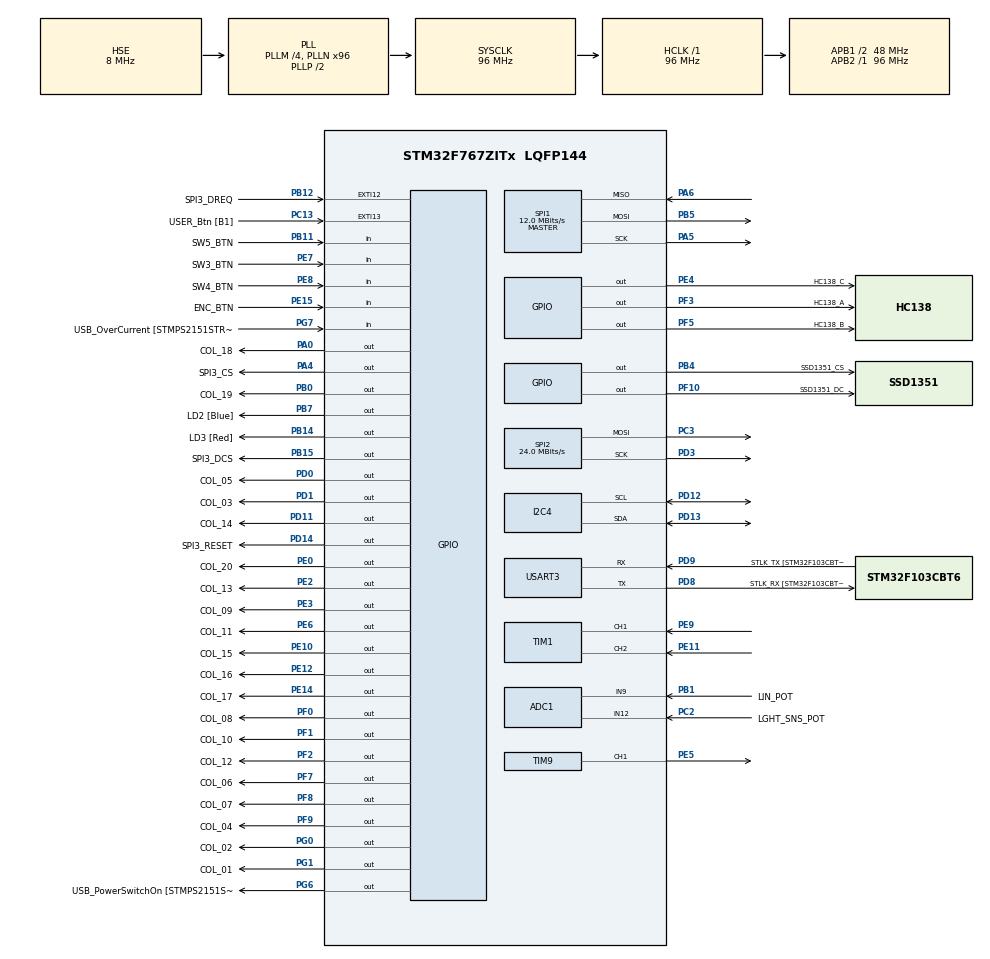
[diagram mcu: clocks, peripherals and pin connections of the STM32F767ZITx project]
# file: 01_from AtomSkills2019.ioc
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ADC1.Channel-0\#ChannelRegularConversion=ADC_CHANNEL_12
ADC1.Channel-1\#ChannelRegularConversion=ADC_CHANNEL_9
ADC1.NbrOfConversion=2
ADC1.NbrOfConversionFlag=1
ADC1.Rank-0\#ChannelRegularConversion=1
ADC1.Rank-1\#ChannelRegularConversion=2
ADC1.SamplingTime-0\#ChannelRegularConversion=ADC_SAMPLETIME_3CYCLES
ADC1.SamplingTime-1\#ChannelRegularConversion=ADC_SAMPLETIME_3CYCLES
ADC1.master=1
Dma.ADC1.0.Direction=DMA_PERIPH_TO_MEMORY
Dma.ADC1.0.FIFOMode=DMA_FIFOMODE_DISABLE
Dma.ADC1.0.Instance=DMA2_Stream0
Dma.ADC1.0.MemDataAlignment=DMA_MDATAALIGN_HALFWORD
Dma.ADC1.0.MemInc=DMA_MINC_ENABLE
Dma.ADC1.0.Mode=DMA_NORMAL
Dma.ADC1.0.PeriphDataAlignment=DMA_PDATAALIGN_HALFWORD
Dma.ADC1.0.PeriphInc=DMA_PINC_DISABLE
Dma.ADC1.0.Priority=DMA_PRIORITY_LOW
Dma.Request0=ADC1
I2C4.Timing=0x20303E5D
Mcu.Family=STM32F7
Mcu.Name=STM32F767ZITx
Mcu.Package=LQFP144
NVIC.DMA2_Stream0_IRQn=true\:0\:0\:false\:false\:true\:false\:true
NVIC.EXTI15_10_IRQn=true\:1\:0\:true\:false\:true\:true\:true
NVIC.PriorityGroup=NVIC_PRIORITYGROUP_4
NVIC.TIM6_DAC_IRQn=true\:0\:0\:false\:false\:true\:true\:true
NVIC.TIM8_TRG_COM_TIM14_IRQn=true\:0\:0\:false\:false\:true\:false\:true
NVIC.TimeBase=TIM8_TRG_COM_TIM14_IRQn
NVIC.TimeBaseIP=TIM14
PA0/WKUP.GPIO_Label=COL_18
PA0/WKUP.Signal=GPIO_Output
PA1.GPIO_Label=RMII_REF_CLK [LAN8742A-CZ-TR_REFCLK0]
PA1.Signal=ETH_REF_CLK
PA10.GPIO_Label=USB_ID
PA10.Signal=USB_OTG_FS_ID
PA11.GPIO_Label=USB_DM
PA11.Signal=USB_OTG_FS_DM
PA12.GPIO_Label=USB_DP
PA12.Signal=USB_OTG_FS_DP
PA13.GPIO_Label=TMS
PA13.Mode=Serial_Wire
PA13.Signal=SYS_JTMS-SWDIO
PA14.GPIO_Label=TCK
PA14.Mode=Serial_Wire
PA14.Signal=SYS_JTCK-SWCLK
PA2.GPIO_Label=RMII_MDIO [LAN8742A-CZ-TR_MDIO]
PA2.Signal=ETH_MDIO
PA4.GPIO_Label=SPI3_CS
PA4.Signal=GPIO_Output
PA5.Mode=Full_Duplex_Master
PA5.Signal=SPI1_SCK
PA6.Mode=Full_Duplex_Master
PA6.Signal=SPI1_MISO
PA7.GPIO_Label=RMII_CRS_DV [LAN8742A-CZ-TR_CRS_DV]
PA7.Signal=ETH_CRS_DV
PA8.GPIO_Label=USB_SOF [TP1]
PA8.Signal=USB_OTG_FS_SOF
PA9.GPIO_Label=USB_VBUS
PA9.Signal=USB_OTG_FS_VBUS
PB0.GPIO_Label=COL_19
PB0.Signal=GPIO_Output
PB1.GPIO_Label=LIN_POT
PB1.Signal=ADCx_IN9
PB11.GPIO_Label=SW5_BTN
PB11.Signal=GPIO_Input
PB12.GPIO_Label=SPI3_DREQ
PB12.Signal=GPXTI12
PB13.GPIO_Label=RMII_TXD1 [LAN8742A-CZ-TR_TXD1]
PB13.Signal=ETH_TXD1
PB14.GPIO_Label=LD3 [Red]
PB14.Signal=GPIO_Output
PB15.GPIO_Label=SPI3_DCS
PB15.Signal=GPIO_Output
PB3.GPIO_Label=SWO
PB3.Signal=SYS_JTDO-SWO
PB4.GPIO_Label=SSD1351_CS
PB4.Signal=GPIO_Output
PB5.Mode=Full_Duplex_Master
PB5.Signal=SPI1_MOSI
PB7.GPIO_Label=LD2 [Blue]
PB7.Signal=GPIO_Output
PC1.GPIO_Label=RMII_MDC [LAN8742A-CZ-TR_MDC]
PC1.Signal=ETH_MDC
PC13.GPIO_Label=USER_Btn [B1]
PC13.Signal=GPXTI13
PC14/OSC32_IN.Mode=LSE-External-Oscillator
PC14/OSC32_IN.Signal=RCC_OSC32_IN
PC15/OSC32_OUT.Mode=LSE-External-Oscillator
PC15/OSC32_OUT.Signal=RCC_OSC32_OUT
PC2.GPIO_Label=LGHT_SNS_POT
PC2.Signal=ADCx_IN12
PC3.Mode=TX_Only_Simplex_Unidirect_Master
PC3.Signal=SPI2_MOSI
PC4.GPIO_Label=RMII_RXD0 [LAN8742A-CZ-TR_RXD0]
PC4.Signal=ETH_RXD0
PC5.GPIO_Label=RMII_RXD1 [LAN8742A-CZ-TR_RXD1]
PC5.Signal=ETH_RXD1
PD0.GPIO_Label=COL_05
PD0.Signal=GPIO_Output
PD1.GPIO_Label=COL_03
PD1.Signal=GPIO_Output
PD11.GPIO_Label=COL_14
PD11.Signal=GPIO_Output
PD12.Mode=I2C
PD12.Signal=I2C4_SCL
PD13.Mode=I2C
PD13.Signal=I2C4_SDA
PD14.GPIO_Label=SPI3_RESET
PD14.Signal=GPIO_Output
PD3.Mode=TX_Only_Simplex_Unidirect_Master
PD3.Signal=SPI2_SCK
PD8.GPIO_Label=STLK_RX [STM32F103CBT6_PA3]
PD8.Mode=Asynchronous
PD8.Signal=USART3_TX
PD9.GPIO_Label=STLK_TX [STM32F103CBT6_PA2]
PD9.Mode=Asynchronous
PD9.Signal=USART3_RX
PE0.GPIO_Label=COL_20
PE0.Signal=GPIO_Output
PE10.GPIO_Label=COL_15
PE10.Signal=GPIO_Output
PE11.Signal=S_TIM1_CH2
PE12.GPIO_Label=COL_16
PE12.Signal=GPIO_Output
PE14.GPIO_Label=COL_17
PE14.Signal=GPIO_Output
PE15.GPIO_Label=ENC_BTN
PE15.Signal=GPIO_Input
PE2.GPIO_Label=COL_13
PE2.Signal=GPIO_Output
PE3.GPIO_Label=COL_09
PE3.Signal=GPIO_Output
PE4.GPIO_Label=HC138_C
PE4.Signal=GPIO_Output
PE5.Signal=S_TIM9_CH1
PE6.GPIO_Label=COL_11
PE6.Signal=GPIO_Output
PE7.GPIO_Label=SW3_BTN
PE7.Signal=GPIO_Input
PE8.GPIO_Label=SW4_BTN
PE8.Signal=GPIO_Input
PE9.Signal=S_TIM1_CH1
PF0.GPIO_Label=COL_08
PF0.Signal=GPIO_Output
PF1.GPIO_Label=COL_10
PF1.Signal=GPIO_Output
PF10.GPIO_Label=SSD1351_DC
PF10.Signal=GPIO_Output
PF2.GPIO_Label=COL_12
PF2.Signal=GPIO_Output
PF3.GPIO_Label=HC138_A
PF3.Signal=GPIO_Output
PF5.GPIO_Label=HC138_B
PF5.Signal=GPIO_Output
PF7.GPIO_Label=COL_06
PF7.Signal=GPIO_Output
PF8.GPIO_Label=COL_07
PF8.Signal=GPIO_Output
PF9.GPIO_Label=COL_04
PF9.Signal=GPIO_Output
PG0.GPIO_Label=COL_02
PG0.Signal=GPIO_Output
PG1.GPIO_Label=COL_01
PG1.Signal=GPIO_Output
PG11.GPIO_Label=RMII_TX_EN [LAN8742A-CZ-TR_TXEN]
PG11.Signal=ETH_TX_EN
PG13.GPIO_Label=RMII_TXD0 [LAN8742A-CZ-TR_TXD0]
PG13.Signal=ETH_TXD0
PG6.GPIO_Label=USB_PowerSwitchOn [STMPS2151STR_EN]
PG6.Signal=GPIO_Output
PG7.GPIO_Label=USB_OverCurrent [STMPS2151STR_FAULT]
PG7.Signal=GPIO_Input
PH0/OSC_IN.GPIO_Label=MCO [STM32F103CBT6_PA8]
PH0/OSC_IN.Mode=HSE-External-Clock-Source
PH0/OSC_IN.Signal=RCC_OSC_IN
PH1/OSC_OUT.Mode=HSE-External-Clock-Source
PH1/OSC_OUT.Signal=RCC_OSC_OUT
ProjectManager.HeapSize=0x200
ProjectManager.StackSize=0x400
ProjectManager.TargetToolchain=MDK-ARM V5.27
RCC.48MHZClocksFreq_Value=24000000
RCC.AHBFreq_Value=96000000
RCC.APB1CLKDivider=RCC_HCLK_DIV2
RCC.APB1Freq_Value=48000000
RCC.APB1TimFreq_Value=96000000
RCC.APB2Freq_Value=96000000
RCC.APB2TimFreq_Value=96000000
RCC.CortexFreq_Value=96000000
RCC.HCLKFreq_Value=96000000
RCC.HSE_VALUE=8000000
RCC.HSI_VALUE=16000000
RCC.PLLM=4
RCC.PLLMUL=RCC_PLL_MUL9
RCC.PLLN=96
RCC.PLLQ=4
RCC.PLLSourceVirtual=RCC_PLLSOURCE_HSE
RCC.PRESCALERUSB=RCC_USBCLKSOURCE_PLL_DIV1_5
RCC.SYSCLKFreq_VALUE=96000000
RCC.SYSCLKSource=RCC_SYSCLKSOURCE_PLLCLK
RCC.SYSCLKSourceVirtual=RCC_SYSCLKSOURCE_PLLCLK
RCC.USBFreq_Value=48000000
RCC.VCOOutputFreq_Value=192000000
SH.ADCx_IN12.0=ADC1_IN12,IN12
SH.ADCx_IN9.0=ADC1_IN9,IN9
SH.S_TIM1_CH1.0=TIM1_CH1,Encoder_Interface
SH.S_TIM1_CH2.0=TIM1_CH2,Encoder_Interface
SH.S_TIM9_CH1.0=TIM9_CH1,PWM Generation1 CH1
SPI1.BaudRatePrescaler=SPI_BAUDRATEPRESCALER_8
SPI1.CalculateBaudRate=12.0 MBits/s
SPI1.DataSize=SPI_DATASIZE_8BIT
SPI1.Direction=SPI_DIRECTION_2LINES
SPI1.Mode=SPI_MODE_MASTER
SPI1.VirtualType=VM_MASTER
SPI2.CalculateBaudRate=24.0 MBits/s
SPI2.DataSize=SPI_DATASIZE_8BIT
SPI2.Direction=SPI_DIRECTION_2LINES
SPI2.Mode=SPI_MODE_MASTER
SPI2.VirtualType=VM_MASTER
TIM6.AutoReloadPreload=TIM_AUTORELOAD_PRELOAD_DISABLE
TIM6.Period=30
TIM6.Prescaler=4799
TIM9.Channel-PWM\ Generation1\ CH1=TIM_CHANNEL_1
TIM9.Period=256
TIM9.Prescaler=9
TIM9.Pulse-PWM\ Generation1\ CH1=15
USART3.VirtualMode-Asynchronous=VM_ASYNC
VP_SYS_VS_tim14.Mode=TIM14
VP_TIM6_VS_ClockSourceINT.Mode=Enable_Timer
VP_TIM9_VS_ClockSourceINT.Mode=Internal
board=NUCLEO-F767ZI

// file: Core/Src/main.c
/* USER CODE BEGIN Header */
/**
  ******************************************************************************
  * @file           : main.c
  * @brief          : Main program body
  ******************************************************************************
  * @attention
  *
  * <h2><center>&copy; Copyright (c) 2022 STMicroelectronics.
  * All rights reserved.</center></h2>
  *
  * This software component is licensed by ST under BSD 3-Clause license,
  * the "License"; You may not use this file except in compliance with the
  * License. You may obtain a copy of the License at:
  *                        opensource.org/licenses/BSD-3-Clause
  *
  ******************************************************************************
  */
/* USER CODE END Header */
#include "main.h"

/* USER CODE BEGIN Includes */
#include "task.h"
#include "button.h"
#include "matrix_led_hc138.h"
//add 09-02-2022 for work with oled ssd1351
#include "ssd1351.h"
#include "fonts.h"
#include "testimg.h"
//add 10-02-2022 for work with tsl2561
#include "tsl2561.h"
//add 11-02-2022 for work with accel MPU-6050
#include "mpu6050.h"
//add 11-02-2022 for work with mp3 decoder VS1053
#include "vs1053.h"
//#include "testMP3.h"
//#include "t.h"
#include "udovolstvie_64.h"

/* USER CODE END Includes */

ADC_HandleTypeDef hadc1;
DMA_HandleTypeDef hdma_adc1;

I2C_HandleTypeDef hi2c4;

SPI_HandleTypeDef hspi1;
SPI_HandleTypeDef hspi2;

TIM_HandleTypeDef htim1;
TIM_HandleTypeDef htim6;
TIM_HandleTypeDef htim9;

UART_HandleTypeDef huart3;

/* USER CODE BEGIN PV */
int row_cnt = 0;
int col_cnt  = 0;
int cnt_sec = 0;
int cnt_msec = 0;
int videoram_matrix[7][20]={
	{1,0,0,1,1,0,0,0,0,1,1,1,0,0,0,1,1,1,1,0},
	{1,0,1,0,0,1,0,0,1,0,0,1,0,0,1,0,0,0,1,0},
	{1,0,1,0,0,1,0,0,1,0,0,1,0,0,1,0,0,0,1,0},
	{1,1,1,0,0,1,0,0,1,0,0,1,0,0,1,0,0,0,1,0},
	{1,1,1,0,0,1,0,0,1,0,0,1,0,0,0,1,1,1,1,0},
	{1,0,1,0,0,1,0,0,1,0,0,1,0,0,0,1,0,0,1,0},
	{1,0,0,1,1,0,0,1,0,0,0,1,0,0,1,0,0,0,1,0}
};
int ang = 0;
int conrast_matrix_led = 0;
int dir_contrast;
char oled_string[10];
int adc1, adc2;
uint16_t adc[2] = {0,0};
unsigned int ms;  // Integration ("shutter") time in milliseconds
unsigned int data0, data1;  //for tsl2561
bool gain;        // Gain setting, 0 = X1, 1 = X16;
double lux;    // Resulting lux value
MPU6050_t MPU6050;
uint32_t pnt_indx_mp3;
/* USER CODE END PV */

void SystemClock_Config(void);
static void MX_GPIO_Init(void);
static void MX_DMA_Init(void);
static void MX_USART3_UART_Init(void);
static void MX_SPI2_Init(void);
static void MX_ADC1_Init(void);
static void MX_I2C4_Init(void);
static void MX_TIM1_Init(void);
static void MX_TIM6_Init(void);
static void MX_TIM9_Init(void);
static void MX_SPI1_Init(void);

/* USER CODE BEGIN 0 */
void ld3(){
	HAL_GPIO_TogglePin(LD3_GPIO_Port, LD3_Pin);
}
void ld2(){
	HAL_GPIO_TogglePin(LD2_GPIO_Port, LD2_Pin);
}
void keyscan_(){
		switch (keyscan()) {
			case 1:
				HAL_GPIO_TogglePin(LD3_GPIO_Port, LD3_Pin);
				HAL_NVIC_EnableIRQ(EXTI15_10_IRQn);
				vs1053_PlayMp3(rawData, sizeof(rawData));

				break;
			case 2:
				HAL_GPIO_TogglePin(LD2_GPIO_Port, LD2_Pin);
				break;
			case 3:
				HAL_GPIO_TogglePin(LD3_GPIO_Port, LD3_Pin);
				HAL_GPIO_TogglePin(LD2_GPIO_Port, LD2_Pin);
				break;
			default:
				break;
		}
}
void refresh_matrix_led(){
	htim9.Instance->CCR1 = 1; //turn off the matrix display. set minimum brightness
	HC138_Set_Row(row_cnt);
	for (int i = 0; i<20; i ++){
		if (videoram_matrix[row_cnt][i])
		{
			HC138_Set_Col(i);
		} else {
			HC138_ReSet_Col(i);
		}
	}
//	HAL_TIM_PWM_Start(&htim9,TIM_CHANNEL_1);
	htim9.Instance->CCR1 = gamma8[conrast_matrix_led]; // turn on the matix display. set the brightness

	row_cnt++;
	if (row_cnt==7) {row_cnt = 0;}
}
void clock_ssd1351(void){
//		SSD1351_DrawLineVR(64,64,ang,64,SSD1351_WHITE);
	  sprintf(oled_string, "X%3d  Y%3d",(int16_t)MPU6050.KalmanAngleX*10/90,(int16_t)MPU6050.KalmanAngleY*10/90);
		SSD1351_WriteStringVR (0,0,oled_string,Font_11x18,SSD1351_YELLOW,SSD1351_BLACK);
//	  sprintf(oled_string, "Y %4d",(int16_t)MPU6050.KalmanAngleY*10/90);
//		SSD1351_WriteStringVR (0,20,oled_string,Font_11x18,SSD1351_YELLOW,SSD1351_BLACK);
		sprintf(oled_string, "%2d %2d",adc[0]*51/4096,50-adc[1]*51/4096);
		SSD1351_WriteStringVR (0,20,oled_string,Font_11x18,SSD1351_YELLOW,SSD1351_BLACK);

		sprintf(oled_string, "%5d",(int)lux);
		SSD1351_WriteStringVR (0,40,oled_string,Font_11x18,SSD1351_YELLOW,SSD1351_BLACK);
		SSD1351_WriteStringVR (55,47,"Lux",Font_7x10,SSD1351_YELLOW,SSD1351_BLACK);
		sprintf(oled_string, "%4dx %4dy",(int)MPU6050.Gx, (int)MPU6050.Gy);
		SSD1351_WriteStringVR (0,60,oled_string,Font_11x18,SSD1351_YELLOW,SSD1351_BLACK);

		sprintf(oled_string, "%3d",ang);
		SSD1351_WriteStringVR (45,105,oled_string,Font_7x10,SSD1351_BLUE,SSD1351_BLACK);
		SSD1351_DrawLineVR(64,64,ang,64,SSD1351_WHITE);
	  SSD1351_RefreshVR();
		SSD1351_DrawLineVR(64,64,ang,60,SSD1351_BLACK);
  	ang +=6;
	  if (ang==360) {ang = 0;}
}
void chage_contrast_matrix_led(void){
	if (dir_contrast) {
			conrast_matrix_led--;
			if (conrast_matrix_led==48) {
		dir_contrast = 0;}
	} else {
			conrast_matrix_led++;
			if (conrast_matrix_led==240) {
		dir_contrast = 1;}

	}
}
void measure_adc1(){
		HAL_ADC_Start_DMA(&hadc1,(uint32_t*)&adc,2);
}
void tsl_read(){

	if (TSL2561_getData(&data0, &data1))
	{
		TSL2561_getLux(gain, ms, data0, data1, &lux);
	}

}
void tsl_init(){
//	HAL_I2C_Master_Transmit(&hi2c4,0x39,
	TSL2561_setTiming_ms(0, 2, &ms);
	TSL2561_setPowerUp();
}
void mpu6050_read(){
	MPU6050_Read_All(&hi2c4, &MPU6050);
}
/* USER CODE END 0 */

int main(void)
{

  /* MCU Configuration--------------------------------------------------------*/

  /* Reset of all peripherals, Initializes the Flash interface and the Systick. */
  HAL_Init();

  /* Configure the system clock */
  SystemClock_Config();

  /* Initialize all configured peripherals */
  MX_GPIO_Init();
  MX_DMA_Init();
  MX_USART3_UART_Init();
  MX_SPI2_Init();
  MX_ADC1_Init();
  MX_I2C4_Init();
  MX_TIM1_Init();
  MX_TIM6_Init();
  MX_TIM9_Init();
  MX_SPI1_Init();
  /* USER CODE BEGIN 2 */
//	SG_Task_add(ld3,200);
//	SG_Task_add(ld2,121);
	HAL_NVIC_DisableIRQ(EXTI15_10_IRQn);
	SSD1351_Init();
	tsl_init();
	MPU6050_Init(&hi2c4);
	vs1053_start();
	HAL_Delay(100);
	pnt_indx_mp3 = 0;
	HAL_NVIC_EnableIRQ(EXTI15_10_IRQn);
	vs1053_PlayMp3(rawData, sizeof(rawData));
  SSD1351_DrawLine(60,60,190,20,SSD1351_WHITE);
  SSD1351_DrawLine(60,60,220,20,SSD1351_YELLOW);
  SSD1351_DrawLine(60,60,260,20,SSD1351_GREEN);
  SSD1351_DrawLine(60,60,290,20,SSD1351_RED);
	SG_Task_add(keyscan_,1);
	SG_Task_add(clock_ssd1351,60);
	SG_Task_add(chage_contrast_matrix_led,4);
	SG_Task_add(mpu6050_read,100);
  SG_Task_add(measure_adc1,10);
	SG_Task_add(tsl_read,30);
	SG_Button_add(SW3_BTN_GPIO_Port, SW3_BTN_Pin); //1
	SG_Button_add(SW4_BTN_GPIO_Port, SW4_BTN_Pin); //2
	SG_Button_add(SW5_BTN_GPIO_Port, SW5_BTN_Pin); //3
	SG_Button_add(ENC_BTN_GPIO_Port, ENC_BTN_Pin); //4
	updateTimerTask();

	HAL_TIM_Base_Start_IT(&htim6); //start the timer for the dymanic indication
	HAL_TIM_PWM_Start(&htim9,TIM_CHANNEL_1);//start the timer for the changing brightness matrix display (PWM on pin G1 HC138)
  /* USER CODE END 2 */

  /* Infinite loop */
  /* USER CODE BEGIN WHILE */
  while (1)
  {
		checkTask();
		runTask();

    /* USER CODE END WHILE */

  }
}

void SystemClock_Config(void)
{
  RCC_OscInitTypeDef RCC_OscInitStruct = {0};
  RCC_ClkInitTypeDef RCC_ClkInitStruct = {0};
  RCC_PeriphCLKInitTypeDef PeriphClkInitStruct = {0};

  /** Configure LSE Drive Capability
  */
  HAL_PWR_EnableBkUpAccess();
  /** Configure the main internal regulator output voltage
  */
  __HAL_RCC_PWR_CLK_ENABLE();
  __HAL_PWR_VOLTAGESCALING_CONFIG(PWR_REGULATOR_VOLTAGE_SCALE3);
  /** Initializes the RCC Oscillators according to the specified parameters
  * in the RCC_OscInitTypeDef structure.
  */
  RCC_OscInitStruct.OscillatorType = RCC_OSCILLATORTYPE_HSE;
  RCC_OscInitStruct.HSEState = RCC_HSE_BYPASS;
  RCC_OscInitStruct.PLL.PLLState = RCC_PLL_ON;
  RCC_OscInitStruct.PLL.PLLSource = RCC_PLLSOURCE_HSE;
  RCC_OscInitStruct.PLL.PLLM = 4;
  RCC_OscInitStruct.PLL.PLLN = 96;
  RCC_OscInitStruct.PLL.PLLP = RCC_PLLP_DIV2;
  RCC_OscInitStruct.PLL.PLLQ = 4;
  if (HAL_RCC_OscConfig(&RCC_OscInitStruct) != HAL_OK)
  {
    Error_Handler();
  }
  /** Activate the Over-Drive mode
  */
  if (HAL_PWREx_EnableOverDrive() != HAL_OK)
  {
    Error_Handler();
  }
  /** Initializes the CPU, AHB and APB buses clocks
  */
  RCC_ClkInitStruct.ClockType = RCC_CLOCKTYPE_HCLK|RCC_CLOCKTYPE_SYSCLK
                              |RCC_CLOCKTYPE_PCLK1|RCC_CLOCKTYPE_PCLK2;
  RCC_ClkInitStruct.SYSCLKSource = RCC_SYSCLKSOURCE_PLLCLK;
  RCC_ClkInitStruct.AHBCLKDivider = RCC_SYSCLK_DIV1;
  RCC_ClkInitStruct.APB1CLKDivider = RCC_HCLK_DIV2;
  RCC_ClkInitStruct.APB2CLKDivider = RCC_HCLK_DIV1;

  if (HAL_RCC_ClockConfig(&RCC_ClkInitStruct, FLASH_LATENCY_3) != HAL_OK)
  {
    Error_Handler();
  }
  PeriphClkInitStruct.PeriphClockSelection = RCC_PERIPHCLK_USART3|RCC_PERIPHCLK_I2C4;
  PeriphClkInitStruct.Usart3ClockSelection = RCC_USART3CLKSOURCE_PCLK1;
  PeriphClkInitStruct.I2c4ClockSelection = RCC_I2C4CLKSOURCE_PCLK1;
  if (HAL_RCCEx_PeriphCLKConfig(&PeriphClkInitStruct) != HAL_OK)
  {
    Error_Handler();
  }
}

static void MX_ADC1_Init(void)
{

  ADC_ChannelConfTypeDef sConfig = {0};

  /** Configure the global features of the ADC (Clock, Resolution, Data Alignment and number of conversion)
  */
  hadc1.Instance = ADC1;
  hadc1.Init.ClockPrescaler = ADC_CLOCK_SYNC_PCLK_DIV4;
  hadc1.Init.Resolution = ADC_RESOLUTION_12B;
  hadc1.Init.ScanConvMode = ADC_SCAN_ENABLE;
  hadc1.Init.ContinuousConvMode = DISABLE;
  hadc1.Init.DiscontinuousConvMode = DISABLE;
  hadc1.Init.ExternalTrigConvEdge = ADC_EXTERNALTRIGCONVEDGE_NONE;
  hadc1.Init.ExternalTrigConv = ADC_SOFTWARE_START;
  hadc1.Init.DataAlign = ADC_DATAALIGN_RIGHT;
  hadc1.Init.NbrOfConversion = 2;
  hadc1.Init.DMAContinuousRequests = DISABLE;
  hadc1.Init.EOCSelection = ADC_EOC_SINGLE_CONV;
  if (HAL_ADC_Init(&hadc1) != HAL_OK)
  {
    Error_Handler();
  }
  /** Configure for the selected ADC regular channel its corresponding rank in the sequencer and its sample time.
  */
  sConfig.Channel = ADC_CHANNEL_12;
  sConfig.Rank = ADC_REGULAR_RANK_1;
  sConfig.SamplingTime = ADC_SAMPLETIME_3CYCLES;
  if (HAL_ADC_ConfigChannel(&hadc1, &sConfig) != HAL_OK)
  {
    Error_Handler();
  }
  /** Configure for the selected ADC regular channel its corresponding rank in the sequencer and its sample time.
  */
  sConfig.Channel = ADC_CHANNEL_9;
  sConfig.Rank = ADC_REGULAR_RANK_2;
  if (HAL_ADC_ConfigChannel(&hadc1, &sConfig) != HAL_OK)
  {
    Error_Handler();
  }

}

static void MX_I2C4_Init(void)
{

  hi2c4.Instance = I2C4;
  hi2c4.Init.Timing = 0x20303E5D;
  hi2c4.Init.OwnAddress1 = 0;
  hi2c4.Init.AddressingMode = I2C_ADDRESSINGMODE_7BIT;
  hi2c4.Init.DualAddressMode = I2C_DUALADDRESS_DISABLE;
  hi2c4.Init.OwnAddress2 = 0;
  hi2c4.Init.OwnAddress2Masks = I2C_OA2_NOMASK;
  hi2c4.Init.GeneralCallMode = I2C_GENERALCALL_DISABLE;
  hi2c4.Init.NoStretchMode = I2C_NOSTRETCH_DISABLE;
  if (HAL_I2C_Init(&hi2c4) != HAL_OK)
  {
    Error_Handler();
  }
  /** Configure Analogue filter
  */
  if (HAL_I2CEx_ConfigAnalogFilter(&hi2c4, I2C_ANALOGFILTER_ENABLE) != HAL_OK)
  {
    Error_Handler();
  }
  /** Configure Digital filter
  */
  if (HAL_I2CEx_ConfigDigitalFilter(&hi2c4, 0) != HAL_OK)
  {
    Error_Handler();
  }

}

static void MX_SPI1_Init(void)
{

  /* SPI1 parameter configuration*/
  hspi1.Instance = SPI1;
  hspi1.Init.Mode = SPI_MODE_MASTER;
  hspi1.Init.Direction = SPI_DIRECTION_2LINES;
  hspi1.Init.DataSize = SPI_DATASIZE_8BIT;
  hspi1.Init.CLKPolarity = SPI_POLARITY_LOW;
  hspi1.Init.CLKPhase = SPI_PHASE_1EDGE;
  hspi1.Init.NSS = SPI_NSS_SOFT;
  hspi1.Init.BaudRatePrescaler = SPI_BAUDRATEPRESCALER_8;
  hspi1.Init.FirstBit = SPI_FIRSTBIT_MSB;
  hspi1.Init.TIMode = SPI_TIMODE_DISABLE;
  hspi1.Init.CRCCalculation = SPI_CRCCALCULATION_DISABLE;
  hspi1.Init.CRCPolynomial = 7;
  hspi1.Init.CRCLength = SPI_CRC_LENGTH_DATASIZE;
  hspi1.Init.NSSPMode = SPI_NSS_PULSE_ENABLE;
  if (HAL_SPI_Init(&hspi1) != HAL_OK)
  {
    Error_Handler();
  }

}

static void MX_SPI2_Init(void)
{

  /* SPI2 parameter configuration*/
  hspi2.Instance = SPI2;
  hspi2.Init.Mode = SPI_MODE_MASTER;
  hspi2.Init.Direction = SPI_DIRECTION_2LINES;
  hspi2.Init.DataSize = SPI_DATASIZE_8BIT;
  hspi2.Init.CLKPolarity = SPI_POLARITY_LOW;
  hspi2.Init.CLKPhase = SPI_PHASE_1EDGE;
  hspi2.Init.NSS = SPI_NSS_SOFT;
  hspi2.Init.BaudRatePrescaler = SPI_BAUDRATEPRESCALER_2;
  hspi2.Init.FirstBit = SPI_FIRSTBIT_MSB;
  hspi2.Init.TIMode = SPI_TIMODE_DISABLE;
  hspi2.Init.CRCCalculation = SPI_CRCCALCULATION_DISABLE;
  hspi2.Init.CRCPolynomial = 7;
  hspi2.Init.CRCLength = SPI_CRC_LENGTH_DATASIZE;
  hspi2.Init.NSSPMode = SPI_NSS_PULSE_ENABLE;
  if (HAL_SPI_Init(&hspi2) != HAL_OK)
  {
    Error_Handler();
  }

}

static void MX_TIM1_Init(void)
{

  TIM_Encoder_InitTypeDef sConfig = {0};
  TIM_MasterConfigTypeDef sMasterConfig = {0};

  htim1.Instance = TIM1;
  htim1.Init.Prescaler = 0;
  htim1.Init.CounterMode = TIM_COUNTERMODE_UP;
  htim1.Init.Period = 65535;
  htim1.Init.ClockDivision = TIM_CLOCKDIVISION_DIV1;
  htim1.Init.RepetitionCounter = 0;
  htim1.Init.AutoReloadPreload = TIM_AUTORELOAD_PRELOAD_DISABLE;
  sConfig.EncoderMode = TIM_ENCODERMODE_TI1;
  sConfig.IC1Polarity = TIM_ICPOLARITY_RISING;
  sConfig.IC1Selection = TIM_ICSELECTION_DIRECTTI;
  sConfig.IC1Prescaler = TIM_ICPSC_DIV1;
  sConfig.IC1Filter = 0;
  sConfig.IC2Polarity = TIM_ICPOLARITY_RISING;
  sConfig.IC2Selection = TIM_ICSELECTION_DIRECTTI;
  sConfig.IC2Prescaler = TIM_ICPSC_DIV1;
  sConfig.IC2Filter = 0;
  if (HAL_TIM_Encoder_Init(&htim1, &sConfig) != HAL_OK)
  {
    Error_Handler();
  }
  sMasterConfig.MasterOutputTrigger = TIM_TRGO_RESET;
  sMasterConfig.MasterOutputTrigger2 = TIM_TRGO2_RESET;
  sMasterConfig.MasterSlaveMode = TIM_MASTERSLAVEMODE_DISABLE;
  if (HAL_TIMEx_MasterConfigSynchronization(&htim1, &sMasterConfig) != HAL_OK)
  {
    Error_Handler();
  }

}

static void MX_TIM6_Init(void)
{

  TIM_MasterConfigTypeDef sMasterConfig = {0};

  htim6.Instance = TIM6;
  htim6.Init.Prescaler = 4799;
  htim6.Init.CounterMode = TIM_COUNTERMODE_UP;
  htim6.Init.Period = 30;
  htim6.Init.AutoReloadPreload = TIM_AUTORELOAD_PRELOAD_DISABLE;
  if (HAL_TIM_Base_Init(&htim6) != HAL_OK)
  {
    Error_Handler();
  }
  sMasterConfig.MasterOutputTrigger = TIM_TRGO_RESET;
  sMasterConfig.MasterSlaveMode = TIM_MASTERSLAVEMODE_DISABLE;
  if (HAL_TIMEx_MasterConfigSynchronization(&htim6, &sMasterConfig) != HAL_OK)
  {
    Error_Handler();
  }

}

static void MX_TIM9_Init(void)
{

  TIM_ClockConfigTypeDef sClockSourceConfig = {0};
  TIM_OC_InitTypeDef sConfigOC = {0};

  htim9.Instance = TIM9;
  htim9.Init.Prescaler = 9;
  htim9.Init.CounterMode = TIM_COUNTERMODE_UP;
  htim9.Init.Period = 256;
  htim9.Init.ClockDivision = TIM_CLOCKDIVISION_DIV1;
  htim9.Init.AutoReloadPreload = TIM_AUTORELOAD_PRELOAD_DISABLE;
  if (HAL_TIM_Base_Init(&htim9) != HAL_OK)
  {
    Error_Handler();
  }
  sClockSourceConfig.ClockSource = TIM_CLOCKSOURCE_INTERNAL;
  if (HAL_TIM_ConfigClockSource(&htim9, &sClockSourceConfig) != HAL_OK)
  {
    Error_Handler();
  }
  if (HAL_TIM_PWM_Init(&htim9) != HAL_OK)
  {
    Error_Handler();
  }
  sConfigOC.OCMode = TIM_OCMODE_PWM1;
  sConfigOC.Pulse = 15;
  sConfigOC.OCPolarity = TIM_OCPOLARITY_HIGH;
  sConfigOC.OCFastMode = TIM_OCFAST_DISABLE;
  if (HAL_TIM_PWM_ConfigChannel(&htim9, &sConfigOC, TIM_CHANNEL_1) != HAL_OK)
  {
    Error_Handler();
  }
  HAL_TIM_MspPostInit(&htim9);

}

static void MX_USART3_UART_Init(void)
{

  huart3.Instance = USART3;
  huart3.Init.BaudRate = 115200;
  huart3.Init.WordLength = UART_WORDLENGTH_8B;
  huart3.Init.StopBits = UART_STOPBITS_1;
  huart3.Init.Parity = UART_PARITY_NONE;
  huart3.Init.Mode = UART_MODE_TX_RX;
  huart3.Init.HwFlowCtl = UART_HWCONTROL_NONE;
  huart3.Init.OverSampling = UART_OVERSAMPLING_16;
  huart3.Init.OneBitSampling = UART_ONE_BIT_SAMPLE_DISABLE;
  huart3.AdvancedInit.AdvFeatureInit = UART_ADVFEATURE_NO_INIT;
  if (HAL_UART_Init(&huart3) != HAL_OK)
  {
    Error_Handler();
  }

}

static void MX_DMA_Init(void)
{

  /* DMA controller clock enable */
  __HAL_RCC_DMA2_CLK_ENABLE();

  /* DMA interrupt init */
  /* DMA2_Stream0_IRQn interrupt configuration */
  HAL_NVIC_SetPriority(DMA2_Stream0_IRQn, 0, 0);
  HAL_NVIC_EnableIRQ(DMA2_Stream0_IRQn);

}

static void MX_GPIO_Init(void)
{
  GPIO_InitTypeDef GPIO_InitStruct = {0};

  /* GPIO Ports Clock Enable */
  __HAL_RCC_GPIOE_CLK_ENABLE();
  __HAL_RCC_GPIOC_CLK_ENABLE();
  __HAL_RCC_GPIOF_CLK_ENABLE();
  __HAL_RCC_GPIOH_CLK_ENABLE();
  __HAL_RCC_GPIOA_CLK_ENABLE();
  __HAL_RCC_GPIOB_CLK_ENABLE();
  __HAL_RCC_GPIOG_CLK_ENABLE();
  __HAL_RCC_GPIOD_CLK_ENABLE();

  /*Configure GPIO pin Output Level */
  HAL_GPIO_WritePin(GPIOE, COL_13_Pin|COL_09_Pin|HC138_C_Pin|COL_11_Pin
                          |COL_15_Pin|COL_16_Pin|COL_17_Pin|COL_20_Pin, GPIO_PIN_RESET);

  /*Configure GPIO pin Output Level */
  HAL_GPIO_WritePin(GPIOF, COL_08_Pin|COL_10_Pin|COL_12_Pin|HC138_A_Pin
                          |HC138_B_Pin|COL_06_Pin|COL_07_Pin|COL_04_Pin
                          |SSD1351_DC_Pin, GPIO_PIN_RESET);

  /*Configure GPIO pin Output Level */
  HAL_GPIO_WritePin(GPIOA, COL_18_Pin|SPI3_CS_Pin, GPIO_PIN_RESET);

  /*Configure GPIO pin Output Level */
  HAL_GPIO_WritePin(GPIOB, COL_19_Pin|LD3_Pin|SPI3_DCS_Pin|SSD1351_CS_Pin
                          |LD2_Pin, GPIO_PIN_RESET);

  /*Configure GPIO pin Output Level */
  HAL_GPIO_WritePin(GPIOG, COL_02_Pin|COL_01_Pin|USB_PowerSwitchOn_Pin, GPIO_PIN_RESET);

  /*Configure GPIO pin Output Level */
  HAL_GPIO_WritePin(GPIOD, COL_14_Pin|SPI3_RESET_Pin|COL_05_Pin|COL_03_Pin, GPIO_PIN_RESET);

  /*Configure GPIO pins : COL_13_Pin COL_09_Pin HC138_C_Pin COL_11_Pin
                           COL_15_Pin COL_16_Pin COL_17_Pin COL_20_Pin */
  GPIO_InitStruct.Pin = COL_13_Pin|COL_09_Pin|HC138_C_Pin|COL_11_Pin
                          |COL_15_Pin|COL_16_Pin|COL_17_Pin|COL_20_Pin;
  GPIO_InitStruct.Mode = GPIO_MODE_OUTPUT_PP;
  GPIO_InitStruct.Pull = GPIO_NOPULL;
  GPIO_InitStruct.Speed = GPIO_SPEED_FREQ_LOW;
  HAL_GPIO_Init(GPIOE, &GPIO_InitStruct);

  /*Configure GPIO pin : USER_Btn_Pin */
  GPIO_InitStruct.Pin = USER_Btn_Pin;
  GPIO_InitStruct.Mode = GPIO_MODE_IT_RISING;
  GPIO_InitStruct.Pull = GPIO_NOPULL;
  HAL_GPIO_Init(USER_Btn_GPIO_Port, &GPIO_InitStruct);

  /*Configure GPIO pins : COL_08_Pin COL_10_Pin COL_12_Pin HC138_A_Pin
                           HC138_B_Pin COL_06_Pin COL_07_Pin COL_04_Pin
                           SSD1351_DC_Pin */
  GPIO_InitStruct.Pin = COL_08_Pin|COL_10_Pin|COL_12_Pin|HC138_A_Pin
                          |HC138_B_Pin|COL_06_Pin|COL_07_Pin|COL_04_Pin
                          |SSD1351_DC_Pin;
  GPIO_InitStruct.Mode = GPIO_MODE_OUTPUT_PP;
  GPIO_InitStruct.Pull = GPIO_NOPULL;
  GPIO_InitStruct.Speed = GPIO_SPEED_FREQ_LOW;
  HAL_GPIO_Init(GPIOF, &GPIO_InitStruct);

  /*Configure GPIO pins : RMII_MDC_Pin RMII_RXD0_Pin RMII_RXD1_Pin */
  GPIO_InitStruct.Pin = RMII_MDC_Pin|RMII_RXD0_Pin|RMII_RXD1_Pin;
  GPIO_InitStruct.Mode = GPIO_MODE_AF_PP;
  GPIO_InitStruct.Pull = GPIO_NOPULL;
  GPIO_InitStruct.Speed = GPIO_SPEED_FREQ_VERY_HIGH;
  GPIO_InitStruct.Alternate = GPIO_AF11_ETH;
  HAL_GPIO_Init(GPIOC, &GPIO_InitStruct);

  /*Configure GPIO pins : COL_18_Pin SPI3_CS_Pin */
  GPIO_InitStruct.Pin = COL_18_Pin|SPI3_CS_Pin;
  GPIO_InitStruct.Mode = GPIO_MODE_OUTPUT_PP;
  GPIO_InitStruct.Pull = GPIO_NOPULL;
  GPIO_InitStruct.Speed = GPIO_SPEED_FREQ_LOW;
  HAL_GPIO_Init(GPIOA, &GPIO_InitStruct);

  /*Configure GPIO pins : RMII_REF_CLK_Pin RMII_MDIO_Pin RMII_CRS_DV_Pin */
  GPIO_InitStruct.Pin = RMII_REF_CLK_Pin|RMII_MDIO_Pin|RMII_CRS_DV_Pin;
  GPIO_InitStruct.Mode = GPIO_MODE_AF_PP;
  GPIO_InitStruct.Pull = GPIO_NOPULL;
  GPIO_InitStruct.Speed = GPIO_SPEED_FREQ_VERY_HIGH;
  GPIO_InitStruct.Alternate = GPIO_AF11_ETH;
  HAL_GPIO_Init(GPIOA, &GPIO_InitStruct);

  /*Configure GPIO pins : COL_19_Pin LD3_Pin SPI3_DCS_Pin SSD1351_CS_Pin
                           LD2_Pin */
  GPIO_InitStruct.Pin = COL_19_Pin|LD3_Pin|SPI3_DCS_Pin|SSD1351_CS_Pin
                          |LD2_Pin;
  GPIO_InitStruct.Mode = GPIO_MODE_OUTPUT_PP;
  GPIO_InitStruct.Pull = GPIO_NOPULL;
  GPIO_InitStruct.Speed = GPIO_SPEED_FREQ_LOW;
  HAL_GPIO_Init(GPIOB, &GPIO_InitStruct);

  /*Configure GPIO pins : COL_02_Pin COL_01_Pin USB_PowerSwitchOn_Pin */
  GPIO_InitStruct.Pin = COL_02_Pin|COL_01_Pin|USB_PowerSwitchOn_Pin;
  GPIO_InitStruct.Mode = GPIO_MODE_OUTPUT_PP;
  GPIO_InitStruct.Pull = GPIO_NOPULL;
  GPIO_InitStruct.Speed = GPIO_SPEED_FREQ_LOW;
  HAL_GPIO_Init(GPIOG, &GPIO_InitStruct);

  /*Configure GPIO pins : SW3_BTN_Pin SW4_BTN_Pin ENC_BTN_Pin */
  GPIO_InitStruct.Pin = SW3_BTN_Pin|SW4_BTN_Pin|ENC_BTN_Pin;
  GPIO_InitStruct.Mode = GPIO_MODE_INPUT;
  GPIO_InitStruct.Pull = GPIO_NOPULL;
  HAL_GPIO_Init(GPIOE, &GPIO_InitStruct);

  /*Configure GPIO pin : SW5_BTN_Pin */
  GPIO_InitStruct.Pin = SW5_BTN_Pin;
  GPIO_InitStruct.Mode = GPIO_MODE_INPUT;
  GPIO_InitStruct.Pull = GPIO_NOPULL;
  HAL_GPIO_Init(SW5_BTN_GPIO_Port, &GPIO_InitStruct);

  /*Configure GPIO pin : SPI3_DREQ_Pin */
  GPIO_InitStruct.Pin = SPI3_DREQ_Pin;
  GPIO_InitStruct.Mode = GPIO_MODE_IT_RISING;
  GPIO_InitStruct.Pull = GPIO_NOPULL;
  HAL_GPIO_Init(SPI3_DREQ_GPIO_Port, &GPIO_InitStruct);

  /*Configure GPIO pin : RMII_TXD1_Pin */
  GPIO_InitStruct.Pin = RMII_TXD1_Pin;
  GPIO_InitStruct.Mode = GPIO_MODE_AF_PP;
  GPIO_InitStruct.Pull = GPIO_NOPULL;
  GPIO_InitStruct.Speed = GPIO_SPEED_FREQ_VERY_HIGH;
  GPIO_InitStruct.Alternate = GPIO_AF11_ETH;
  HAL_GPIO_Init(RMII_TXD1_GPIO_Port, &GPIO_InitStruct);

  /*Configure GPIO pins : COL_14_Pin SPI3_RESET_Pin COL_05_Pin COL_03_Pin */
  GPIO_InitStruct.Pin = COL_14_Pin|SPI3_RESET_Pin|COL_05_Pin|COL_03_Pin;
  GPIO_InitStruct.Mode = GPIO_MODE_OUTPUT_PP;
  GPIO_InitStruct.Pull = GPIO_NOPULL;
  GPIO_InitStruct.Speed = GPIO_SPEED_FREQ_LOW;
  HAL_GPIO_Init(GPIOD, &GPIO_InitStruct);

  /*Configure GPIO pin : USB_OverCurrent_Pin */
  GPIO_InitStruct.Pin = USB_OverCurrent_Pin;
  GPIO_InitStruct.Mode = GPIO_MODE_INPUT;
  GPIO_InitStruct.Pull = GPIO_NOPULL;
  HAL_GPIO_Init(USB_OverCurrent_GPIO_Port, &GPIO_InitStruct);

  /*Configure GPIO pins : USB_SOF_Pin USB_ID_Pin USB_DM_Pin USB_DP_Pin */
  GPIO_InitStruct.Pin = USB_SOF_Pin|USB_ID_Pin|USB_DM_Pin|USB_DP_Pin;
  GPIO_InitStruct.Mode = GPIO_MODE_AF_PP;
  GPIO_InitStruct.Pull = GPIO_NOPULL;
  GPIO_InitStruct.Speed = GPIO_SPEED_FREQ_VERY_HIGH;
  GPIO_InitStruct.Alternate = GPIO_AF10_OTG_FS;
  HAL_GPIO_Init(GPIOA, &GPIO_InitStruct);

  /*Configure GPIO pin : USB_VBUS_Pin */
  GPIO_InitStruct.Pin = USB_VBUS_Pin;
  GPIO_InitStruct.Mode = GPIO_MODE_INPUT;
  GPIO_InitStruct.Pull = GPIO_NOPULL;
  HAL_GPIO_Init(USB_VBUS_GPIO_Port, &GPIO_InitStruct);

  /*Configure GPIO pins : RMII_TX_EN_Pin RMII_TXD0_Pin */
  GPIO_InitStruct.Pin = RMII_TX_EN_Pin|RMII_TXD0_Pin;
  GPIO_InitStruct.Mode = GPIO_MODE_AF_PP;
  GPIO_InitStruct.Pull = GPIO_NOPULL;
  GPIO_InitStruct.Speed = GPIO_SPEED_FREQ_VERY_HIGH;
  GPIO_InitStruct.Alternate = GPIO_AF11_ETH;
  HAL_GPIO_Init(GPIOG, &GPIO_InitStruct);

  /* EXTI interrupt init*/
  HAL_NVIC_SetPriority(EXTI15_10_IRQn, 1, 0);
  HAL_NVIC_EnableIRQ(EXTI15_10_IRQn);

}

/* USER CODE BEGIN 4 */
void HAL_ADC_ConvHalfCpltCallback(ADC_HandleTypeDef* hadc){
	HAL_ADC_Stop_DMA(&hadc1);  //stop work ADC im DMA-mode
}
void HAL_GPIO_EXTI_Callback(uint16_t GPIO_Pin){
	if (GPIO_Pin == SPI3_DREQ_Pin){//proverim isto4nik prerivaniya. Esli eto on vivoda DREQ to zna4it nuzhno dat' next fragment mp3-file
		HAL_GPIO_TogglePin(LD2_GPIO_Port, LD2_Pin);
//		HAL_GPIO_TogglePin(LD2_GPIO_Port, LD2_Pin);
		vs1053_PlayMp3(rawData, sizeof(rawData));

	}
}
/* USER CODE END 4 */

void HAL_TIM_PeriodElapsedCallback(TIM_HandleTypeDef *htim)
{
  /* USER CODE BEGIN Callback 0 */
	if (htim->Instance == TIM6){
			HAL_GPIO_TogglePin(LD3_GPIO_Port,LD3_Pin);
			refresh_matrix_led();
	}
  /* USER CODE END Callback 0 */
  if (htim->Instance == TIM14) {
    HAL_IncTick();
  }
}

void Error_Handler(void)
{
  /* USER CODE BEGIN Error_Handler_Debug */
  /* User can add his own implementation to report the HAL error return state */
	while (1) {
		HAL_Delay(100);
		HAL_GPIO_TogglePin(LD3_GPIO_Port, LD3_Pin);
		HAL_GPIO_TogglePin(LD2_GPIO_Port, LD2_Pin);
	}
  /* USER CODE END Error_Handler_Debug */
}

/************************ (C) COPYRIGHT STMicroelectronics *****END OF FILE****/
